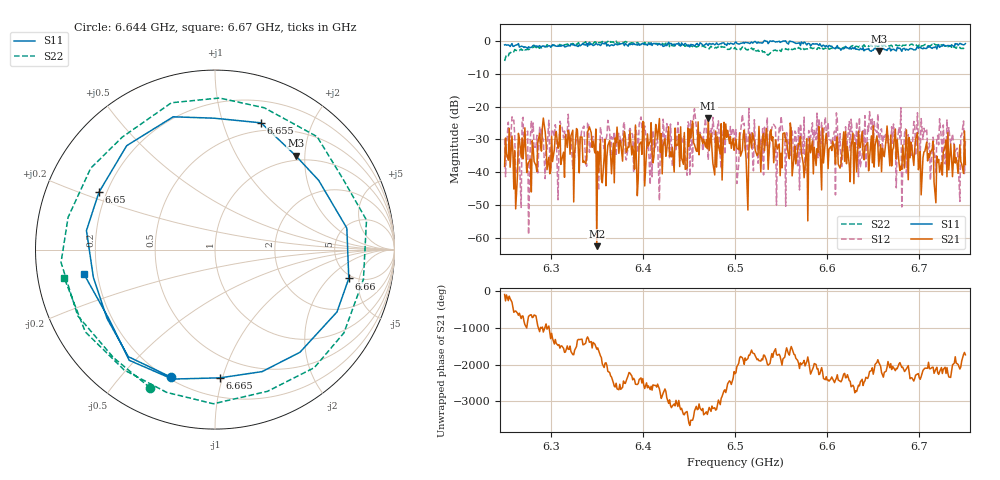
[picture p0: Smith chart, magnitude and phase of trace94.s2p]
# Hz S RI R 50
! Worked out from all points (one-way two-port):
!   401 points, 6.25 GHz to 6.75 GHz, reference 50 ohm
!   highest |S21| = -23.45 dB at 6.471 GHz (marker M1); lowest = -62.6 dB at 6.35 GHz (marker M2)
!   lowest |S11| = -3.2 dB at 6.656 GHz (marker M3), VSWR 5.45, Z = 45.3 + j90.7 ohm
!   |S11| at or under -10 dB: nowhere
!   |S22| runs from -6.1 to -0.1 dB; largest |S21 - S12| = 0.11
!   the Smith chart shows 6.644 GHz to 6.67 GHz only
!   S11 on the Smith chart (normalised r, x): 6.644 GHz: 0.21, -0.69; 6.65 GHz: 0.17, +0.23; 6.655 GHz: 0.41, +1.34; 6.66 GHz: 4.62, -3.55; 6.665 GHz: 0.34, -0.98; 6.67 GHz: 0.15, -0.09
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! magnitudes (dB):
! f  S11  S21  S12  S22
! 6.25 GHz  -1.2  -38.2  -30.0  -6.1
! 6.259 GHz  -1.6  -33.8  -24.2  -3.2
! 6.265 GHz  -0.8  -28.2  -30.6  -2.8
! 6.271 GHz  -2.0  -32.2  -32.6  -2.3
! 6.274 GHz  -2.0  -40.1  -28.2  -2.6
! 6.334 GHz  -1.0  -29.3  -26.6  -1.0
! 6.344 GHz  -0.9  -28.0  -29.9  -0.9
! 6.35 GHz  -0.9  -62.6  -34.1  -0.9
! 6.361 GHz  -1.5  -35.3  -28.8  -0.3
! 6.418 GHz  -0.9  -23.7  -48.7  -0.8
! 6.471 GHz  -1.4  -23.4  -36.3  -2.3
! 6.5 GHz  -0.6  -31.8  -30.3  -2.0
! 6.584 GHz  -0.9  -30.5  -25.0  -2.3
! 6.644 GHz  -2.5  -31.0  -26.0  -1.4
! 6.65 GHz  -2.8  -25.9  -33.4  -1.6
! 6.655 GHz  -2.5  -31.6  -22.2  -1.6
! 6.656 GHz  -3.2  -38.2  -32.5  -1.4
! 6.66 GHz  -2.4  -32.7  -33.5  -1.5
! 6.665 GHz  -2.9  -25.9  -31.1  -1.3
! 6.668 GHz  -2.2  -38.0  -35.1  -1.5
! 6.67 GHz  -2.6  -38.1  -26.2  -1.4
! 6.75 GHz  -0.8  -37.7  -30.5  -2.2
